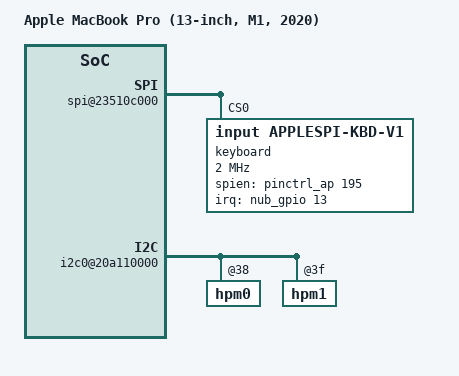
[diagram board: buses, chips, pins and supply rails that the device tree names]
// SPDX-License-Identifier: GPL-2.0+ OR MIT
/*
 * Apple MacBook Pro (13-inch, M1, 2020)
 *
 * target-type: J293
 *
 * Copyright The Asahi Linux Contributors
 */

/dts-v1/;

#include <dt-bindings/leds/common.h>

#include "t8103.dtsi"

/ {
	compatible = "apple,j293", "apple,t8103", "apple,arm-platform";
	model = "Apple MacBook Pro (13-inch, M1, 2020)";

	chosen {
		#address-cells = <2>;
		#size-cells = <2>;
		ranges;
	};

	soc {
		spi@23510c000 {
			keyboard@0 {
				compatible = "input,applespi-kbd-v1";
				reg = <0>;
				spi-max-frequency = <2000000>;
				spien-gpios = <&pinctrl_ap 195 0>;
				irq-gpios = <&nub_gpio 13 0>;
				interrupt-parent = <&nub_gpio>;
				interrupts = <13 8>;
			};
		};

		i2c0@20a110000 {
			hpm0@38 {
			 	connector {
				 	data-role = "dual-role";
				};
			};
			hpm1@3f {
			 	connector {
				 	data-role = "dual-role";
				};
			};
		};

		usb0@382280000 {
			dwc3@382280000 {
				dr_mode = "dual-role";
			};
		};

		usb1@502280000 {
			dwc3@502280000 {
				dr_mode = "dual-role";
			};
		};
	};
};
